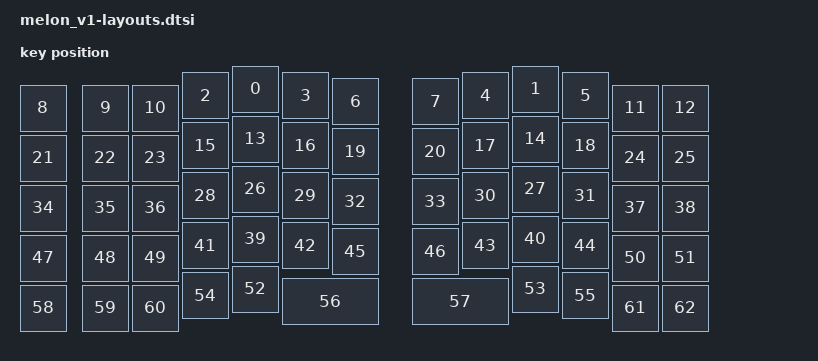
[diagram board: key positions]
#include <physical_layouts.dtsi>

/ {
    physical_layout0: physical_layout0 {
        compatible = "zmk,physical-layout";
        transform = <&default_transform0>;
        display-name = "Default Layout";

        keys  //                     w   h    x    y     rot    rx    ry
            = <&key_physical_attrs 100 100  425    0       0     0     0>
            , <&key_physical_attrs 100 100  985    0       0     0     0>
            , <&key_physical_attrs 100 100  325   13       0     0     0>
            , <&key_physical_attrs 100 100  525   13       0     0     0>
            , <&key_physical_attrs 100 100  885   13       0     0     0>
            , <&key_physical_attrs 100 100 1085   13       0     0     0>
            , <&key_physical_attrs 100 100  625   25       0     0     0>
            , <&key_physical_attrs 100 100  785   25       0     0     0>
            , <&key_physical_attrs 100 100    0   38       0     0     0>
            , <&key_physical_attrs 100 100  125   38       0     0     0>
            , <&key_physical_attrs 100 100  225   38       0     0     0>
            , <&key_physical_attrs 100 100 1185   38       0     0     0>
            , <&key_physical_attrs 100 100 1285   38       0     0     0>
            , <&key_physical_attrs 100 100  425  100       0     0     0>
            , <&key_physical_attrs 100 100  985  100       0     0     0>
            , <&key_physical_attrs 100 100  325  113       0     0     0>
            , <&key_physical_attrs 100 100  525  113       0     0     0>
            , <&key_physical_attrs 100 100  885  113       0     0     0>
            , <&key_physical_attrs 100 100 1085  113       0     0     0>
            , <&key_physical_attrs 100 100  625  125       0     0     0>
            , <&key_physical_attrs 100 100  785  125       0     0     0>
            , <&key_physical_attrs 100 100    0  138       0     0     0>
            , <&key_physical_attrs 100 100  125  138       0     0     0>
            , <&key_physical_attrs 100 100  225  138       0     0     0>
            , <&key_physical_attrs 100 100 1185  138       0     0     0>
            , <&key_physical_attrs 100 100 1285  138       0     0     0>
            , <&key_physical_attrs 100 100  425  200       0     0     0>
            , <&key_physical_attrs 100 100  985  200       0     0     0>
            , <&key_physical_attrs 100 100  325  213       0     0     0>
            , <&key_physical_attrs 100 100  525  213       0     0     0>
            , <&key_physical_attrs 100 100  885  213       0     0     0>
            , <&key_physical_attrs 100 100 1085  213       0     0     0>
            , <&key_physical_attrs 100 100  625  225       0     0     0>
            , <&key_physical_attrs 100 100  785  225       0     0     0>
            , <&key_physical_attrs 100 100    0  238       0     0     0>
            , <&key_physical_attrs 100 100  125  238       0     0     0>
            , <&key_physical_attrs 100 100  225  238       0     0     0>
            , <&key_physical_attrs 100 100 1185  238       0     0     0>
            , <&key_physical_attrs 100 100 1285  238       0     0     0>
            , <&key_physical_attrs 100 100  425  300       0     0     0>
            , <&key_physical_attrs 100 100  985  300       0     0     0>
            , <&key_physical_attrs 100 100  325  313       0     0     0>
            , <&key_physical_attrs 100 100  525  313       0     0     0>
            , <&key_physical_attrs 100 100  885  313       0     0     0>
            , <&key_physical_attrs 100 100 1085  313       0     0     0>
            , <&key_physical_attrs 100 100  625  325       0     0     0>
            , <&key_physical_attrs 100 100  785  325       0     0     0>
            , <&key_physical_attrs 100 100    0  338       0     0     0>
            , <&key_physical_attrs 100 100  125  338       0     0     0>
            , <&key_physical_attrs 100 100  225  338       0     0     0>
            , <&key_physical_attrs 100 100 1185  338       0     0     0>
            , <&key_physical_attrs 100 100 1285  338       0     0     0>
            , <&key_physical_attrs 100 100  425  400       0     0     0>
            , <&key_physical_attrs 100 100  985  400       0     0     0>
            , <&key_physical_attrs 100 100  325  413       0     0     0>
            , <&key_physical_attrs 100 100 1085  413       0     0     0>
            , <&key_physical_attrs 200 100  525  425       0     0     0>
            , <&key_physical_attrs 200 100  785  425       0     0     0>
            , <&key_physical_attrs 100 100    0  438       0     0     0>
            , <&key_physical_attrs 100 100  125  438       0     0     0>
            , <&key_physical_attrs 100 100  225  438       0     0     0>
            , <&key_physical_attrs 100 100 1185  438       0     0     0>
            , <&key_physical_attrs 100 100 1285  438       0     0     0>
            ;
    };
};

// label: node name {
//     properties definition
//     child nodes
// }

/ { 
    position_map {
        compatible = "zmk,physical-layout-position-map";

        physical_posmap0: base {
            physical-layout = <&physical_layout0>;
            positions = <8 9 10 2 0 3 6 7 4 1 5 11 12>
            , <21 22 23 15 13 16 19 20 17 14 18 24 25>
            , <34 35 36 28 26 29 32 33 30 27 31 37 38>
            , <47 48 49 41 39 42 45 46 43 40 44 50 51>
            , <58 59 60 54 52 56 57 53 55 61 62>;
        };
    };
};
